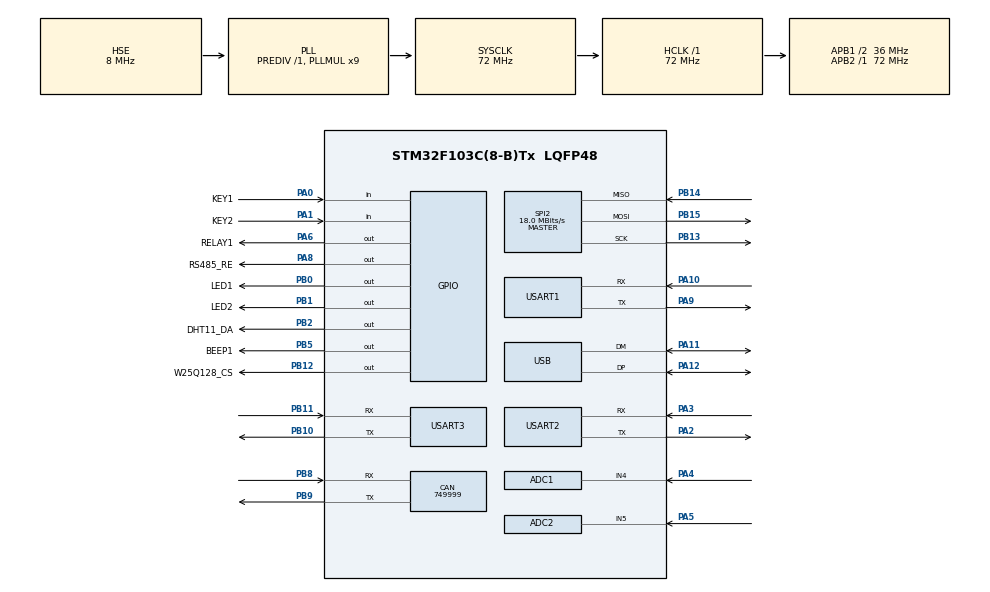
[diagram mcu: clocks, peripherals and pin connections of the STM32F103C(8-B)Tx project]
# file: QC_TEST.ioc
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ADC1.Channel-1\#ChannelRegularConversion=ADC_CHANNEL_4
ADC1.NbrOfConversionFlag=1
ADC1.Rank-1\#ChannelRegularConversion=1
ADC1.SamplingTime-1\#ChannelRegularConversion=ADC_SAMPLETIME_1CYCLE_5
ADC1.master=1
ADC2.Channel-2\#ChannelRegularConversion=ADC_CHANNEL_5
ADC2.NbrOfConversionFlag=1
ADC2.Rank-2\#ChannelRegularConversion=1
ADC2.SamplingTime-2\#ChannelRegularConversion=ADC_SAMPLETIME_1CYCLE_5
CAN.CalculateBaudRate=749999
CAN.CalculateTimeBit=1333
CAN.CalculateTimeQuantum=444.44444444444446
Mcu.Family=STM32F1
Mcu.Name=STM32F103C(8-B)Tx
Mcu.Package=LQFP48
NVIC.PriorityGroup=NVIC_PRIORITYGROUP_4
PA0-WKUP.GPIO_Label=KEY1
PA0-WKUP.GPIO_PuPd=GPIO_PULLUP
PA0-WKUP.Signal=GPIO_Input
PA1.GPIO_Label=KEY2
PA1.GPIO_PuPd=GPIO_PULLUP
PA1.Signal=GPIO_Input
PA10.Mode=Asynchronous
PA10.Signal=USART1_RX
PA11.Mode=Device
PA11.Signal=USB_DM
PA12.Mode=Device
PA12.Signal=USB_DP
PA13.Mode=JTAG_5_pins
PA13.Signal=SYS_JTMS-SWDIO
PA14.Mode=JTAG_5_pins
PA14.Signal=SYS_JTCK-SWCLK
PA15.Mode=JTAG_5_pins
PA15.Signal=SYS_JTDI
PA2.Mode=Asynchronous
PA2.Signal=USART2_TX
PA3.Mode=Asynchronous
PA3.Signal=USART2_RX
PA4.Signal=ADCx_IN4
PA5.Signal=ADCx_IN5
PA6.GPIO_Label=RELAY1
PA6.GPIO_ModeDefaultOutputPP=GPIO_MODE_OUTPUT_OD
PA6.GPIO_PuPd=GPIO_NOPULL
PA6.GPIO_Speed=GPIO_SPEED_FREQ_HIGH
PA6.PinState=GPIO_PIN_SET
PA6.Signal=GPIO_Output
PA8.GPIO_Label=RS485_RE
PA8.GPIO_PuPd=GPIO_NOPULL
PA8.GPIO_Speed=GPIO_SPEED_FREQ_HIGH
PA8.Signal=GPIO_Output
PA9.Mode=Asynchronous
PA9.Signal=USART1_TX
PB0.GPIO_Label=LED1
PB0.GPIO_ModeDefaultOutputPP=GPIO_MODE_OUTPUT_PP
PB0.GPIO_PuPd=GPIO_NOPULL
PB0.GPIO_Speed=GPIO_SPEED_FREQ_HIGH
PB0.PinState=GPIO_PIN_RESET
PB0.Signal=GPIO_Output
PB1.GPIO_Label=LED2
PB1.GPIO_Speed=GPIO_SPEED_FREQ_HIGH
PB1.PinState=GPIO_PIN_SET
PB1.Signal=GPIO_Output
PB10.Mode=Asynchronous
PB10.Signal=USART3_TX
PB11.Mode=Asynchronous
PB11.Signal=USART3_RX
PB12.GPIO_Label=W25Q128_CS
PB12.GPIO_PuPd=GPIO_PULLUP
PB12.GPIO_Speed=GPIO_SPEED_FREQ_HIGH
PB12.PinState=GPIO_PIN_SET
PB12.Signal=GPIO_Output
PB13.Mode=Full_Duplex_Master
PB13.Signal=SPI2_SCK
PB14.Mode=Full_Duplex_Master
PB14.Signal=SPI2_MISO
PB15.Mode=Full_Duplex_Master
PB15.Signal=SPI2_MOSI
PB2.GPIO_Label=DHT11_DA
PB2.GPIO_Speed=GPIO_SPEED_FREQ_HIGH
PB2.PinState=GPIO_PIN_SET
PB2.Signal=GPIO_Output
PB3.Mode=JTAG_5_pins
PB3.Signal=SYS_JTDO-TRACESWO
PB4.Mode=JTAG_5_pins
PB4.Signal=SYS_NJTRST
PB5.GPIO_Label=BEEP1
PB5.GPIO_Speed=GPIO_SPEED_FREQ_HIGH
PB5.PinState=GPIO_PIN_SET
PB5.Signal=GPIO_Output
PB8.Mode=CAN_Activate
PB8.Signal=CAN_RX
PB9.Mode=CAN_Activate
PB9.Signal=CAN_TX
PC14-OSC32_IN.Mode=LSE-External-Oscillator
PC14-OSC32_IN.Signal=RCC_OSC32_IN
PC15-OSC32_OUT.Mode=LSE-External-Oscillator
PC15-OSC32_OUT.Signal=RCC_OSC32_OUT
PD0-OSC_IN.Mode=HSE-External-Oscillator
PD0-OSC_IN.Signal=RCC_OSC_IN
PD1-OSC_OUT.Mode=HSE-External-Oscillator
PD1-OSC_OUT.Signal=RCC_OSC_OUT
ProjectManager.HeapSize=0x200
ProjectManager.StackSize=0x400
ProjectManager.TargetToolchain=STM32CubeIDE
RCC.ADCPresc=RCC_ADCPCLK2_DIV8
RCC.AHBFreq_Value=72000000
RCC.APB1CLKDivider=RCC_HCLK_DIV2
RCC.APB1Freq_Value=36000000
RCC.APB1TimFreq_Value=72000000
RCC.APB2Freq_Value=72000000
RCC.APB2TimFreq_Value=72000000
RCC.HCLKFreq_Value=72000000
RCC.PLLMUL=RCC_PLL_MUL9
RCC.PLLSourceVirtual=RCC_PLLSOURCE_HSE
RCC.RCC_MCOSource=RCC_MCO1SOURCE_HSE
RCC.RTCClockSelection=RCC_RTCCLKSOURCE_LSE
RCC.SYSCLKFreq_VALUE=72000000
RCC.SYSCLKSource=RCC_SYSCLKSOURCE_PLLCLK
RCC.USBFreq_Value=48000000
RCC.USBPrescaler=RCC_USBCLKSOURCE_PLL_DIV1_5
SH.ADCx_IN4.0=ADC1_IN4,IN4
SH.ADCx_IN5.0=ADC2_IN5,IN5
SPI2.CalculateBaudRate=18.0 MBits/s
SPI2.Direction=SPI_DIRECTION_2LINES
SPI2.Mode=SPI_MODE_MASTER
SPI2.VirtualType=VM_MASTER
USART1.VirtualMode=VM_ASYNC
USART2.VirtualMode=VM_ASYNC
USART3.VirtualMode=VM_ASYNC
VP_RTC_VS_RTC_Activate.Mode=RTC_Enabled
board=custom

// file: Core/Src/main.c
/* USER CODE BEGIN Header */
/**
  ******************************************************************************
  * @file           : main.c
  * @brief          : Main program body
  ******************************************************************************
  * @attention
  *
  * Copyright (c) 2021 STMicroelectronics.
  * All rights reserved.
  *
  * This software is licensed under terms that can be found in the LICENSE file
  * in the root directory of this software component.
  * If no LICENSE file comes with this software, it is provided AS-IS.
  *
  ******************************************************************************
  */
/* USER CODE END Header */
#include "main.h"

/* USER CODE BEGIN Includes */
#include "../../icode/led/led.h"
#include "../../icode/key/key.h"
#include "../../icode/delay/delay.h"
#include "../../icode/buzzer/buzzer.h"
#include "../../icode/relay/relay.h"
/* USER CODE END Includes */

ADC_HandleTypeDef hadc1;
ADC_HandleTypeDef hadc2;

CAN_HandleTypeDef hcan;

RTC_HandleTypeDef hrtc;

SPI_HandleTypeDef hspi2;

UART_HandleTypeDef huart1;
UART_HandleTypeDef huart2;
UART_HandleTypeDef huart3;

PCD_HandleTypeDef hpcd_USB_FS;

void SystemClock_Config(void);
static void MX_GPIO_Init(void);
static void MX_RTC_Init(void);
static void MX_ADC1_Init(void);
static void MX_ADC2_Init(void);
static void MX_CAN_Init(void);
static void MX_SPI2_Init(void);
static void MX_USART1_UART_Init(void);
static void MX_USART2_UART_Init(void);
static void MX_USART3_UART_Init(void);
static void MX_USB_PCD_Init(void);

int main(void)
{

  /* MCU Configuration--------------------------------------------------------*/

  /* Reset of all peripherals, Initializes the Flash interface and the Systick. */
  HAL_Init();

  /* Configure the system clock */
  SystemClock_Config();

  /* Initialize all configured peripherals */
  MX_GPIO_Init();
  MX_RTC_Init();
  MX_ADC1_Init();
  MX_ADC2_Init();
  MX_CAN_Init();
  MX_SPI2_Init();
  MX_USART1_UART_Init();
  MX_USART2_UART_Init();
  MX_USART3_UART_Init();
  MX_USB_PCD_Init();

  /* Infinite loop */
  /* USER CODE BEGIN WHILE */
  while (1)
  {
//	  LED_1(1);//LED1灯控制（1点亮，0熄灭）
//	  LED_2(0);//LED2灯控制（1点亮，0熄灭）
//	  HAL_Delay(100);//在主循环里写入HAL库的毫秒级延时函数
//	  LED_1(0);//LED1灯控制（1点亮，0熄灭）
//	  LED_2(1);//LED2灯控制（1点亮，0熄灭）
//	  HAL_Delay(100);//在主循环里写入HAL库的毫秒级延时函数

	  if(KEY_1()) //按键KEY1判断为1时按键按下
	  {
		  LED_1(1);//LED1灯控制（1点亮，0熄灭）
		  LED_2(1);//LED2灯控制（1点亮，0熄灭）
		  BUZZER_SOLO1();//蜂鸣器输出单音的报警音（样式1：HAL库的精准延时函数）
		  RELAY_1(1);//继电器的控制程序（c=0继电器放开，c=1继电器吸合）
	  }
	  if(KEY_2()) //按键KEY2判断为1时按键按下
	  {
		  LED_1(0);//LED1灯控制（1点亮，0熄灭）
		  LED_2(0);//LED2灯控制（1点亮，0熄灭）
		  BUZZER_SOLO2();//蜂鸣器输出单音的报警音（样式2：CPU微秒级延时）
		  RELAY_1(0);//继电器的控制程序（c=0继电器放开，c=1继电器吸合）
	  }

    /* USER CODE END WHILE */

  }
}

void SystemClock_Config(void)
{
  RCC_OscInitTypeDef RCC_OscInitStruct = {0};
  RCC_ClkInitTypeDef RCC_ClkInitStruct = {0};
  RCC_PeriphCLKInitTypeDef PeriphClkInit = {0};

  /** Initializes the RCC Oscillators according to the specified parameters
  * in the RCC_OscInitTypeDef structure.
  */
  RCC_OscInitStruct.OscillatorType = RCC_OSCILLATORTYPE_HSE|RCC_OSCILLATORTYPE_LSE;
  RCC_OscInitStruct.HSEState = RCC_HSE_ON;
  RCC_OscInitStruct.HSEPredivValue = RCC_HSE_PREDIV_DIV1;
  RCC_OscInitStruct.LSEState = RCC_LSE_ON;
  RCC_OscInitStruct.HSIState = RCC_HSI_ON;
  RCC_OscInitStruct.PLL.PLLState = RCC_PLL_ON;
  RCC_OscInitStruct.PLL.PLLSource = RCC_PLLSOURCE_HSE;
  RCC_OscInitStruct.PLL.PLLMUL = RCC_PLL_MUL9;
  if (HAL_RCC_OscConfig(&RCC_OscInitStruct) != HAL_OK)
  {
    Error_Handler();
  }
  /** Initializes the CPU, AHB and APB buses clocks
  */
  RCC_ClkInitStruct.ClockType = RCC_CLOCKTYPE_HCLK|RCC_CLOCKTYPE_SYSCLK
                              |RCC_CLOCKTYPE_PCLK1|RCC_CLOCKTYPE_PCLK2;
  RCC_ClkInitStruct.SYSCLKSource = RCC_SYSCLKSOURCE_PLLCLK;
  RCC_ClkInitStruct.AHBCLKDivider = RCC_SYSCLK_DIV1;
  RCC_ClkInitStruct.APB1CLKDivider = RCC_HCLK_DIV2;
  RCC_ClkInitStruct.APB2CLKDivider = RCC_HCLK_DIV1;

  if (HAL_RCC_ClockConfig(&RCC_ClkInitStruct, FLASH_LATENCY_2) != HAL_OK)
  {
    Error_Handler();
  }
  PeriphClkInit.PeriphClockSelection = RCC_PERIPHCLK_RTC|RCC_PERIPHCLK_ADC
                              |RCC_PERIPHCLK_USB;
  PeriphClkInit.RTCClockSelection = RCC_RTCCLKSOURCE_LSE;
  PeriphClkInit.AdcClockSelection = RCC_ADCPCLK2_DIV8;
  PeriphClkInit.UsbClockSelection = RCC_USBCLKSOURCE_PLL_DIV1_5;
  if (HAL_RCCEx_PeriphCLKConfig(&PeriphClkInit) != HAL_OK)
  {
    Error_Handler();
  }
}

static void MX_ADC1_Init(void)
{

  ADC_ChannelConfTypeDef sConfig = {0};

  /** Common config
  */
  hadc1.Instance = ADC1;
  hadc1.Init.ScanConvMode = ADC_SCAN_DISABLE;
  hadc1.Init.ContinuousConvMode = DISABLE;
  hadc1.Init.DiscontinuousConvMode = DISABLE;
  hadc1.Init.ExternalTrigConv = ADC_SOFTWARE_START;
  hadc1.Init.DataAlign = ADC_DATAALIGN_RIGHT;
  hadc1.Init.NbrOfConversion = 1;
  if (HAL_ADC_Init(&hadc1) != HAL_OK)
  {
    Error_Handler();
  }
  /** Configure Regular Channel
  */
  sConfig.Channel = ADC_CHANNEL_4;
  sConfig.Rank = ADC_REGULAR_RANK_1;
  sConfig.SamplingTime = ADC_SAMPLETIME_1CYCLE_5;
  if (HAL_ADC_ConfigChannel(&hadc1, &sConfig) != HAL_OK)
  {
    Error_Handler();
  }

}

static void MX_ADC2_Init(void)
{

  ADC_ChannelConfTypeDef sConfig = {0};

  /** Common config
  */
  hadc2.Instance = ADC2;
  hadc2.Init.ScanConvMode = ADC_SCAN_DISABLE;
  hadc2.Init.ContinuousConvMode = DISABLE;
  hadc2.Init.DiscontinuousConvMode = DISABLE;
  hadc2.Init.ExternalTrigConv = ADC_SOFTWARE_START;
  hadc2.Init.DataAlign = ADC_DATAALIGN_RIGHT;
  hadc2.Init.NbrOfConversion = 1;
  if (HAL_ADC_Init(&hadc2) != HAL_OK)
  {
    Error_Handler();
  }
  /** Configure Regular Channel
  */
  sConfig.Channel = ADC_CHANNEL_5;
  sConfig.Rank = ADC_REGULAR_RANK_1;
  sConfig.SamplingTime = ADC_SAMPLETIME_1CYCLE_5;
  if (HAL_ADC_ConfigChannel(&hadc2, &sConfig) != HAL_OK)
  {
    Error_Handler();
  }

}

static void MX_CAN_Init(void)
{

  hcan.Instance = CAN1;
  hcan.Init.Prescaler = 16;
  hcan.Init.Mode = CAN_MODE_NORMAL;
  hcan.Init.SyncJumpWidth = CAN_SJW_1TQ;
  hcan.Init.TimeSeg1 = CAN_BS1_1TQ;
  hcan.Init.TimeSeg2 = CAN_BS2_1TQ;
  hcan.Init.TimeTriggeredMode = DISABLE;
  hcan.Init.AutoBusOff = DISABLE;
  hcan.Init.AutoWakeUp = DISABLE;
  hcan.Init.AutoRetransmission = DISABLE;
  hcan.Init.ReceiveFifoLocked = DISABLE;
  hcan.Init.TransmitFifoPriority = DISABLE;
  if (HAL_CAN_Init(&hcan) != HAL_OK)
  {
    Error_Handler();
  }

}

static void MX_RTC_Init(void)
{

  /** Initialize RTC Only
  */
  hrtc.Instance = RTC;
  hrtc.Init.AsynchPrediv = RTC_AUTO_1_SECOND;
  hrtc.Init.OutPut = RTC_OUTPUTSOURCE_ALARM;
  if (HAL_RTC_Init(&hrtc) != HAL_OK)
  {
    Error_Handler();
  }

}

static void MX_SPI2_Init(void)
{

  /* SPI2 parameter configuration*/
  hspi2.Instance = SPI2;
  hspi2.Init.Mode = SPI_MODE_MASTER;
  hspi2.Init.Direction = SPI_DIRECTION_2LINES;
  hspi2.Init.DataSize = SPI_DATASIZE_8BIT;
  hspi2.Init.CLKPolarity = SPI_POLARITY_LOW;
  hspi2.Init.CLKPhase = SPI_PHASE_1EDGE;
  hspi2.Init.NSS = SPI_NSS_SOFT;
  hspi2.Init.BaudRatePrescaler = SPI_BAUDRATEPRESCALER_2;
  hspi2.Init.FirstBit = SPI_FIRSTBIT_MSB;
  hspi2.Init.TIMode = SPI_TIMODE_DISABLE;
  hspi2.Init.CRCCalculation = SPI_CRCCALCULATION_DISABLE;
  hspi2.Init.CRCPolynomial = 10;
  if (HAL_SPI_Init(&hspi2) != HAL_OK)
  {
    Error_Handler();
  }

}

static void MX_USART1_UART_Init(void)
{

  huart1.Instance = USART1;
  huart1.Init.BaudRate = 115200;
  huart1.Init.WordLength = UART_WORDLENGTH_8B;
  huart1.Init.StopBits = UART_STOPBITS_1;
  huart1.Init.Parity = UART_PARITY_NONE;
  huart1.Init.Mode = UART_MODE_TX_RX;
  huart1.Init.HwFlowCtl = UART_HWCONTROL_NONE;
  huart1.Init.OverSampling = UART_OVERSAMPLING_16;
  if (HAL_UART_Init(&huart1) != HAL_OK)
  {
    Error_Handler();
  }

}

static void MX_USART2_UART_Init(void)
{

  huart2.Instance = USART2;
  huart2.Init.BaudRate = 115200;
  huart2.Init.WordLength = UART_WORDLENGTH_8B;
  huart2.Init.StopBits = UART_STOPBITS_1;
  huart2.Init.Parity = UART_PARITY_NONE;
  huart2.Init.Mode = UART_MODE_TX_RX;
  huart2.Init.HwFlowCtl = UART_HWCONTROL_NONE;
  huart2.Init.OverSampling = UART_OVERSAMPLING_16;
  if (HAL_UART_Init(&huart2) != HAL_OK)
  {
    Error_Handler();
  }

}

static void MX_USART3_UART_Init(void)
{

  huart3.Instance = USART3;
  huart3.Init.BaudRate = 115200;
  huart3.Init.WordLength = UART_WORDLENGTH_8B;
  huart3.Init.StopBits = UART_STOPBITS_1;
  huart3.Init.Parity = UART_PARITY_NONE;
  huart3.Init.Mode = UART_MODE_TX_RX;
  huart3.Init.HwFlowCtl = UART_HWCONTROL_NONE;
  huart3.Init.OverSampling = UART_OVERSAMPLING_16;
  if (HAL_UART_Init(&huart3) != HAL_OK)
  {
    Error_Handler();
  }

}

static void MX_USB_PCD_Init(void)
{

  hpcd_USB_FS.Instance = USB;
  hpcd_USB_FS.Init.dev_endpoints = 8;
  hpcd_USB_FS.Init.speed = PCD_SPEED_FULL;
  hpcd_USB_FS.Init.low_power_enable = DISABLE;
  hpcd_USB_FS.Init.lpm_enable = DISABLE;
  hpcd_USB_FS.Init.battery_charging_enable = DISABLE;
  if (HAL_PCD_Init(&hpcd_USB_FS) != HAL_OK)
  {
    Error_Handler();
  }

}

static void MX_GPIO_Init(void)
{
  GPIO_InitTypeDef GPIO_InitStruct = {0};

  /* GPIO Ports Clock Enable */
  __HAL_RCC_GPIOC_CLK_ENABLE();
  __HAL_RCC_GPIOD_CLK_ENABLE();
  __HAL_RCC_GPIOA_CLK_ENABLE();
  __HAL_RCC_GPIOB_CLK_ENABLE();

  /*Configure GPIO pin Output Level */
  HAL_GPIO_WritePin(RELAY1_GPIO_Port, RELAY1_Pin, GPIO_PIN_SET);

  /*Configure GPIO pin Output Level */
  HAL_GPIO_WritePin(LED1_GPIO_Port, LED1_Pin, GPIO_PIN_RESET);

  /*Configure GPIO pin Output Level */
  HAL_GPIO_WritePin(GPIOB, LED2_Pin|DHT11_DA_Pin|W25Q128_CS_Pin|BEEP1_Pin, GPIO_PIN_SET);

  /*Configure GPIO pin Output Level */
  HAL_GPIO_WritePin(RS485_RE_GPIO_Port, RS485_RE_Pin, GPIO_PIN_RESET);

  /*Configure GPIO pins : KEY1_Pin KEY2_Pin */
  GPIO_InitStruct.Pin = KEY1_Pin|KEY2_Pin;
  GPIO_InitStruct.Mode = GPIO_MODE_INPUT;
  GPIO_InitStruct.Pull = GPIO_PULLUP;
  HAL_GPIO_Init(GPIOA, &GPIO_InitStruct);

  /*Configure GPIO pin : RELAY1_Pin */
  GPIO_InitStruct.Pin = RELAY1_Pin;
  GPIO_InitStruct.Mode = GPIO_MODE_OUTPUT_OD;
  GPIO_InitStruct.Pull = GPIO_NOPULL;
  GPIO_InitStruct.Speed = GPIO_SPEED_FREQ_HIGH;
  HAL_GPIO_Init(RELAY1_GPIO_Port, &GPIO_InitStruct);

  /*Configure GPIO pins : LED1_Pin LED2_Pin DHT11_DA_Pin BEEP1_Pin */
  GPIO_InitStruct.Pin = LED1_Pin|LED2_Pin|DHT11_DA_Pin|BEEP1_Pin;
  GPIO_InitStruct.Mode = GPIO_MODE_OUTPUT_PP;
  GPIO_InitStruct.Pull = GPIO_NOPULL;
  GPIO_InitStruct.Speed = GPIO_SPEED_FREQ_HIGH;
  HAL_GPIO_Init(GPIOB, &GPIO_InitStruct);

  /*Configure GPIO pin : W25Q128_CS_Pin */
  GPIO_InitStruct.Pin = W25Q128_CS_Pin;
  GPIO_InitStruct.Mode = GPIO_MODE_OUTPUT_PP;
  GPIO_InitStruct.Pull = GPIO_PULLUP;
  GPIO_InitStruct.Speed = GPIO_SPEED_FREQ_HIGH;
  HAL_GPIO_Init(W25Q128_CS_GPIO_Port, &GPIO_InitStruct);

  /*Configure GPIO pin : RS485_RE_Pin */
  GPIO_InitStruct.Pin = RS485_RE_Pin;
  GPIO_InitStruct.Mode = GPIO_MODE_OUTPUT_PP;
  GPIO_InitStruct.Pull = GPIO_NOPULL;
  GPIO_InitStruct.Speed = GPIO_SPEED_FREQ_HIGH;
  HAL_GPIO_Init(RS485_RE_GPIO_Port, &GPIO_InitStruct);

}

void Error_Handler(void)
{
  __disable_irq();
  while (1)
  {
  }
}
